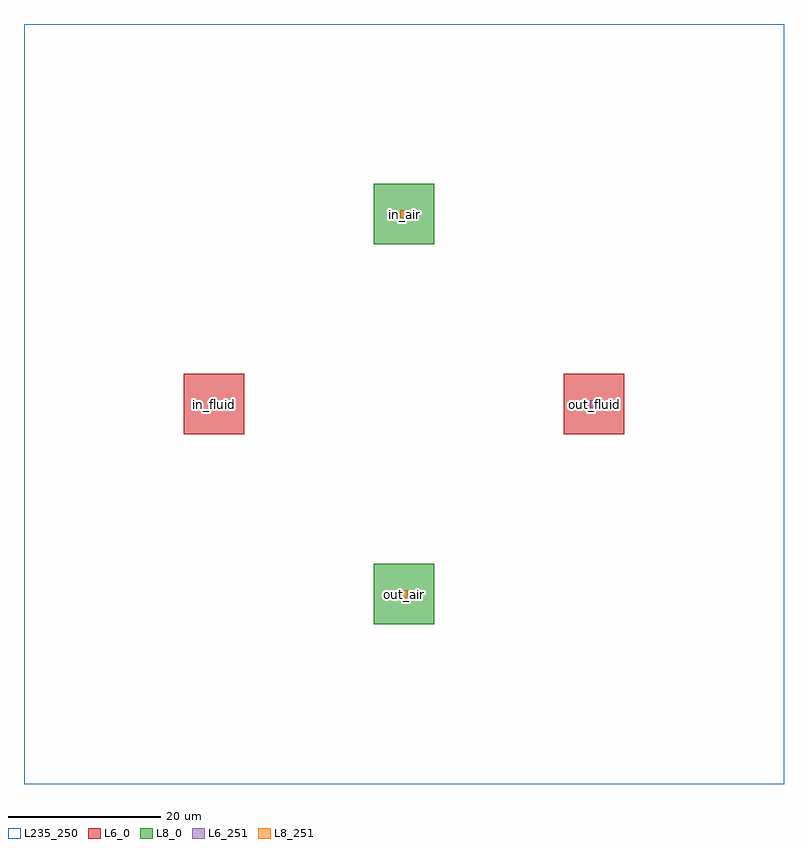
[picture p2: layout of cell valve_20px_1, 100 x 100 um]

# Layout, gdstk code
import gdstk
lib = gdstk.Library(unit=1e-6, precision=1e-09)
def R(c, l, rs):  # rectangles x0, y0, x1, y1
    for r in rs: c.add(gdstk.rectangle(r[:2], r[2:], *l))
L6_0 = (6, 0)
L6_251 = (6, 251)
L8_0 = (8, 0)
L8_251 = (8, 251)
L235_250 = (235, 250)

valve_20px_1 = lib.new_cell('valve_20px_1')
R(valve_20px_1, L6_0, [(21,46,29,54), (71,46,79,54)])
R(valve_20px_1, L6_251, [(24.5,49.5,25.5,50.5), (74.5,49.5,75.5,50.5)])
R(valve_20px_1, L8_0, [(46,21,54,29), (46,71,54,79)])
R(valve_20px_1, L8_251, [(49.5,24.5,50.5,25.5), (49.5,74.5,50.5,75.5)])
R(valve_20px_1, L235_250, [(0,0,100,100)])
valve_20px_1.add(gdstk.Label('out_fluid', (75,50), layer=6, texttype=251))
valve_20px_1.add(gdstk.Label('in_fluid', (25,50), layer=6, texttype=251))
valve_20px_1.add(gdstk.Label('in_air', (50,75), layer=8, texttype=251))
valve_20px_1.add(gdstk.Label('out_air', (50,25), layer=8, texttype=251))

lib.write_gds('valve_20px_1.gds')
